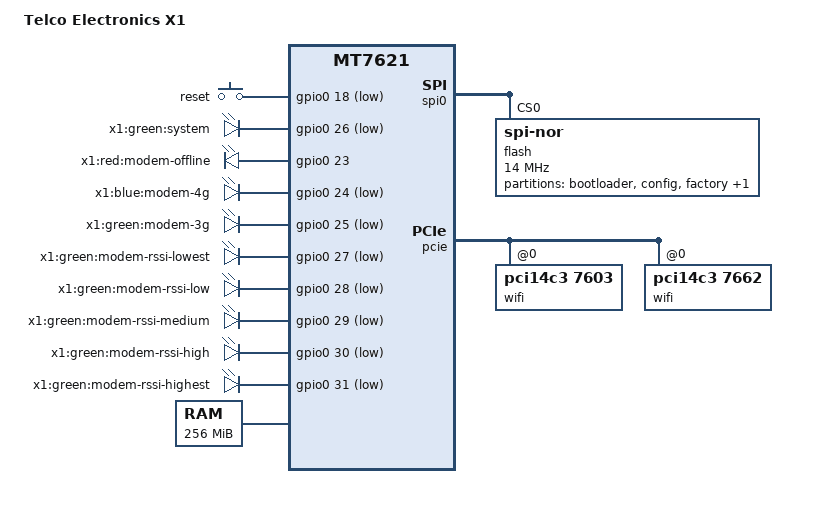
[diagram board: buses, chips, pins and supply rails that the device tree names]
// SPDX-License-Identifier: GPL-2.0-or-later OR MIT

/dts-v1/;

#include "mt7621.dtsi"

#include <dt-bindings/gpio/gpio.h>
#include <dt-bindings/input/input.h>

/ {
	compatible = "telco-electronics,x1", "mediatek,mt7621-soc";
	model = "Telco Electronics X1";

	aliases {
		led-boot = &system_led;
		led-failsafe = &system_led;
		led-running = &system_led;
		led-upgrade = &system_led;
	};

	chosen {
		bootargs = "console=ttyS0,115200";
	};

	keys {
		compatible = "gpio-keys-polled";
		poll-interval = <20>;

		reset {
			label = "reset";
			gpios = <&gpio0 18 GPIO_ACTIVE_LOW>;
			linux,code = <KEY_RESTART>;
		};
	};

	leds {
		compatible = "gpio-leds";

		system_led: system {
			label = "x1:green:system";
			gpios = <&gpio0 26 GPIO_ACTIVE_LOW>;
		};

		modem_offline {
			label = "x1:red:modem-offline";
			gpios = <&gpio0 23 GPIO_ACTIVE_HIGH>;
		};

		modem_4g {
			label = "x1:blue:modem-4g";
			gpios = <&gpio0 24 GPIO_ACTIVE_LOW>;
		};

		modem_3g {
			label = "x1:green:modem-3g";
			gpios = <&gpio0 25 GPIO_ACTIVE_LOW>;
		};

		modem_rssi_lowest {
			label = "x1:green:modem-rssi-lowest";
			gpios = <&gpio0 27 GPIO_ACTIVE_LOW>;
		};

		modem_rssi_low {
			label = "x1:green:modem-rssi-low";
			gpios = <&gpio0 28 GPIO_ACTIVE_LOW>;
		};

		modem_rssi_medium {
			label = "x1:green:modem-rssi-medium";
			gpios = <&gpio0 29 GPIO_ACTIVE_LOW>;
		};

		modem_rssi_high {
			label = "x1:green:modem-rssi-high";
			gpios = <&gpio0 30 GPIO_ACTIVE_LOW>;
		};

		modem_rssi_highest {
			label = "x1:green:modem-rssi-highest";
			gpios = <&gpio0 31 GPIO_ACTIVE_LOW>;
		};
	};

	memory@0 {
		device_type = "memory";
		reg = <0x0 0x10000000>;
	};
};

&spi0 {
	status = "okay";

	flash@0 {
		compatible = "jedec,spi-nor";
		reg = <0>;
		spi-max-frequency = <14000000>;

		partitions {
			compatible = "fixed-partitions";
			#address-cells = <1>;
			#size-cells = <1>;

			partition@0 {
				label = "bootloader";
				reg = <0x0 0x30000>;
				read-only;
			};

			partition@30000 {
				label = "config";
				reg = <0x30000 0x10000>;
				read-only;
			};

			factory: partition@40000 {
				label = "factory";
				reg = <0x40000 0x10000>;
				read-only;
			};

			firmware: partition@50000 {
				compatible = "denx,uimage";
				label = "firmware";
				reg = <0x50000 0xfb0000>;
			};
		};
	};
};

&gpio0 {
	status = "okay";
};

&ethernet {
	mtd-mac-address = <&factory 0xe006>;
	mediatek,portmap = "llllw";
};

&pinctrl {
	state_default: pinctrl0 {
		gpio {
			ralink,group = "jtag", "uart2", "wdt", "rgmii2";
			ralink,function = "gpio";
		};
	};
};

&pcie {
	status = "okay";

	pcie0 {
		wifi@0,0 {
			compatible = "pci14c3,7603";
			reg = <0x0000 0 0 0 0>;
			mediatek,mtd-eeprom = <&factory 0x0000>;
			ieee80211-freq-limit = <2400000 2500000>;
		};
	};

	pcie1 {
		wifi@0,0 {
			compatible = "pci14c3,7662";
			reg = <0x0000 0 0 0 0>;
			mediatek,mtd-eeprom = <&factory 0x8000>;
			ieee80211-freq-limit = <5000000 6000000>;
			led {
				led-sources = <2>;
			};
		};
	};
};
